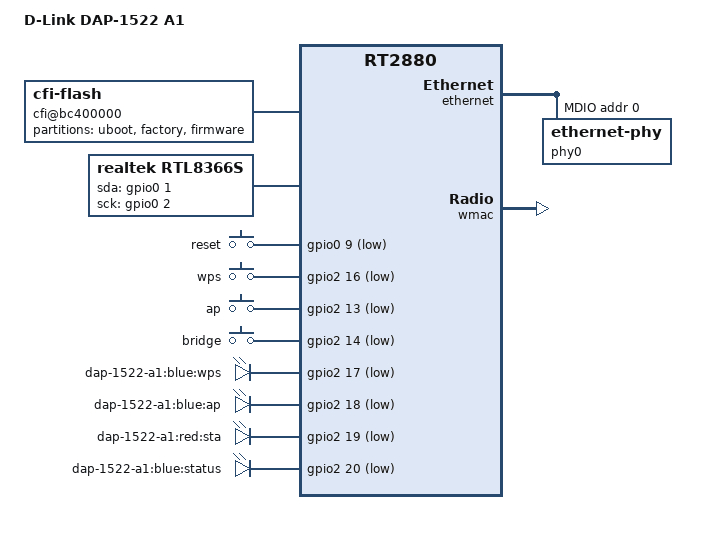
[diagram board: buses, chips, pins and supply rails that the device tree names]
/dts-v1/;

#include "rt2880.dtsi"

#include <dt-bindings/gpio/gpio.h>
#include <dt-bindings/input/input.h>

/ {
	compatible = "dlink,dap-1522-a1", "ralink,rt2880-soc";
	model = "D-Link DAP-1522 A1";

	aliases {
		led-boot = &led_status;
		led-failsafe = &led_status;
		led-running = &led_status;
		led-upgrade = &led_status;
	};

	cfi@bc400000 {
		compatible = "cfi-flash";
		reg = <0xbc400000 0x800000>;
		bank-width = <2>;
		device-width = <2>;

		partitions {
			compatible = "fixed-partitions";
			#address-cells = <1>;
			#size-cells = <1>;

			partition@0 {
				label = "uboot";
				reg = <0x0 0x30000>;
				read-only;
			};

			factory: partition@30000 {
				label = "factory";
				reg = <0x30000 0x10000>;
				read-only;
			};

			partition@40000 {
				compatible = "wrg";
				label = "firmware";
				reg = <0x40000 0x3a0000>;
			};
		};
	};

	rtl8366s {
		compatible = "realtek,rtl8366s";
		gpio-sda = <&gpio0 1 GPIO_ACTIVE_HIGH>;
		gpio-sck = <&gpio0 2 GPIO_ACTIVE_HIGH>;
	};

	keys {
		compatible = "gpio-keys-polled";
		poll-interval = <100>;

		reset {
			label = "reset";
			gpios = <&gpio0 9 GPIO_ACTIVE_LOW>;
			linux,code = <KEY_RESTART>;
		};

		wps {
			label = "wps";
			gpios = <&gpio2 16 GPIO_ACTIVE_LOW>;
			linux,code = <KEY_WPS_BUTTON>;
		};

		ap {
			label = "ap";
			gpios = <&gpio2 13 GPIO_ACTIVE_LOW>;
			linux,code = <BTN_0>;
			linux,input-type = <EV_SW>;
		};

		bridge {
			label = "bridge";
			gpios = <&gpio2 14 GPIO_ACTIVE_LOW>;
			linux,code = <BTN_1>;
			linux,input-type = <EV_SW>;
		};
	};

	leds {
		compatible = "gpio-leds";

		wps {
			label = "dap-1522-a1:blue:wps";
			gpios = <&gpio2 17 GPIO_ACTIVE_LOW>;
		};

		ap {
			label = "dap-1522-a1:blue:ap";
			gpios = <&gpio2 18 GPIO_ACTIVE_LOW>;
		};

		sta {
			label = "dap-1522-a1:red:sta";
			gpios = <&gpio2 19 GPIO_ACTIVE_LOW>;
		};

		led_status: status {
			label = "dap-1522-a1:blue:status";
			gpios = <&gpio2 20 GPIO_ACTIVE_LOW>;
		};
	};
};

&gpio0 {
	status = "okay";
};

&gpio2 {
	status = "okay";
};

&pinctrl {
	state_default: pinctrl0 {
		gpio {
			ralink,group = "i2c", "uartlite", "pci";
			ralink,function = "gpio";
		};
	};
};

&ethernet {
	status = "okay";
	mtd-mac-address = <&factory 0x2004>;

	port@0 {
		mediatek,fixed-link = <1000 1 1 1>;
	};

	mdio-bus {
		status = "okay";

		phy0: ethernet-phy@0 {
			phy-mode = "mii";
			reg = <0>;
		};
	};
};

&wmac {
	ralink,mtd-eeprom = <&factory 0x2000>;
};
